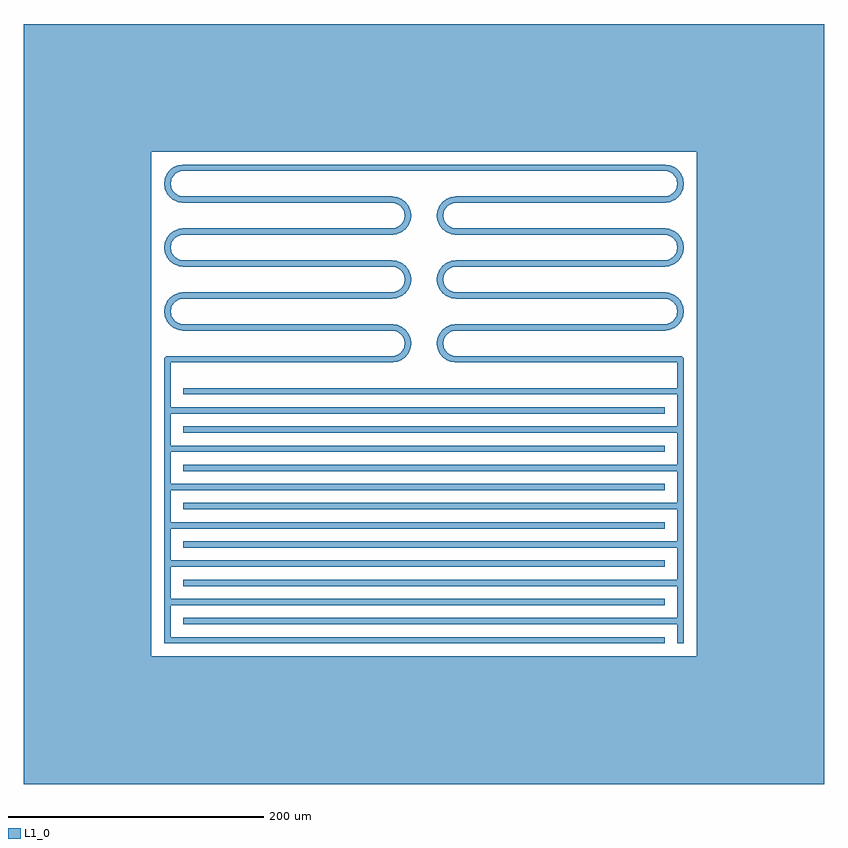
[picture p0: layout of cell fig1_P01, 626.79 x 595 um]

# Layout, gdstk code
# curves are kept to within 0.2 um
import gdstk
lib = gdstk.Library(unit=1e-6, precision=1e-09)
def R(c, l, rs):  # rectangles x0, y0, x1, y1
    for r in rs: c.add(gdstk.rectangle(r[:2], r[2:], *l))
def A(c, l, x, y, w, h, nx, ny, dx, dy):  # array of equal rectangles
    R(c, l, [(x+i*dx, y+j*dy, x+i*dx+w, y+j*dy+h) for i in range(nx) for j in range(ny)])
def P(c, l, *ps):  # polygons
    for p in ps: c.add(gdstk.Polygon(p, *l))
L1_0 = (1, 0)

fig1_p01 = lib.new_cell('fig1_P01')
A(fig1_p01, L1_0, -203.395, 0, 391.79, 5, 1, 7, 0, 30)
A(fig1_p01, L1_0, -188.395, 15, 391.79, 5, 1, 7, 0, 30)
A(fig1_p01, L1_0, -188.395, 245, 163.395, 5, 1, 5, 0, 25)
A(fig1_p01, L1_0, 25, 245, 163.395, 5, 1, 5, 0, 25)
R(fig1_p01, L1_0, [(-313.395,-110,313.395,-10), (-313.395,-10,-213.395,385), (213.395,-10,313.395,385), (-203.395,0,-198.395,200), (198.395,0,203.395,200), (-203.395,197.5,-198.395,222.5), (198.395,197.5,203.395,222.5), (-200.895,220,-25,225), (25,220,200.895,225), (-188.395,370,188.395,375), (-313.395,385,313.395,485)])
P(fig1_p01, L1_0, [(14.979,334.674),(10.021,335.326),(10.447,338.562),(15.405,337.909)],
  [(12.926,335.735),(11.158,336.467),(10.426,338.235),(11.158,340.003),(12.926,340.735),(14.694,340.003),(15.426,338.235),(14.694,336.467)],
  [(12.5,332.5),(10.732,333.232),(10,335),(10.732,336.768),(12.5,337.5),(14.268,336.768),(15,335),(14.268,333.232)],
  [(196.167,347.191),(193.123,351.158),(195.712,353.145),(198.756,349.178)],
  [(192.587,345.616),(190.674,350.236),(193.688,351.484),(195.602,346.865)],
  [(188.721,345.021),(188.069,349.979),(191.304,350.405),(191.957,345.447)],
  [(191.304,369.595),(188.069,370.021),(188.721,374.979),(191.957,374.553)],
  [(193.688,368.516),(190.674,369.764),(192.587,374.384),(195.602,373.135)],
  [(195.712,366.855),(193.123,368.842),(196.167,372.809),(198.756,370.822)],
  [(197.237,364.728),(195.25,367.317),(199.217,370.361),(201.204,367.772)],
  [(198.159,362.279),(196.911,365.293),(201.53,367.207),(202.779,364.192)],
  [(198.416,359.674),(197.99,362.909),(202.948,363.562),(203.374,360.326)],
  [(202.948,356.438),(197.99,357.091),(198.416,360.326),(203.374,359.674)],
  [(188.395,370),(186.627,370.732),(185.895,372.5),(186.627,374.268),(188.395,375),(190.163,374.268),(190.895,372.5),(190.163,370.732)],
  [(191.63,369.574),(189.862,370.306),(189.13,372.074),(189.862,373.842),(191.63,374.574),(193.398,373.842),(194.13,372.074),(193.398,370.306)],
  [(194.645,368.325),(192.877,369.058),(192.145,370.825),(192.877,372.593),(194.645,373.325),(196.413,372.593),(197.145,370.825),(196.413,369.058)],
  [(197.234,366.339),(195.466,367.071),(194.734,368.839),(195.466,370.607),(197.234,371.339),(199.002,370.607),(199.734,368.839),(199.002,367.071)],
  [(199.22,363.75),(197.453,364.482),(196.72,366.25),(197.453,368.018),(199.22,368.75),(200.988,368.018),(201.72,366.25),(200.988,364.482)],
  [(200.469,360.735),(198.701,361.467),(197.969,363.235),(198.701,365.003),(200.469,365.735),(202.237,365.003),(202.969,363.235),(202.237,361.467)],
  [(200.895,357.5),(199.127,358.232),(198.395,360),(199.127,361.768),(200.895,362.5),(202.663,361.768),(203.395,360),(202.663,358.232)],
  [(200.469,354.265),(198.701,354.997),(197.969,356.765),(198.701,358.533),(200.469,359.265),(202.237,358.533),(202.969,356.765),(202.237,354.997)],
  [(199.22,351.25),(197.453,351.982),(196.72,353.75),(197.453,355.518),(199.22,356.25),(200.988,355.518),(201.72,353.75),(200.988,351.982)],
  [(197.234,348.661),(195.466,349.393),(194.734,351.161),(195.466,352.929),(197.234,353.661),(199.002,352.929),(199.734,351.161),(199.002,349.393)],
  [(194.645,346.675),(192.877,347.407),(192.145,349.175),(192.877,350.942),(194.645,351.675),(196.413,350.942),(197.145,349.175),(196.413,347.407)],
  [(191.63,345.426),(189.862,346.158),(189.13,347.926),(189.862,349.694),(191.63,350.426),(193.398,349.694),(194.13,347.926),(193.398,346.158)],
  [(188.395,345),(186.627,345.732),(185.895,347.5),(186.627,349.268),(188.395,350),(190.163,349.268),(190.895,347.5),(190.163,345.732)],
  [(201.53,352.793),(196.911,354.707),(198.159,357.721),(202.779,355.808)],
  [(199.217,349.639),(195.25,352.683),(197.237,355.272),(201.204,352.228)],
  [(19.707,343.516),(17.793,348.135),(20.808,349.384),(22.721,344.764)],
  [(17.683,341.855),(14.639,345.822),(17.228,347.809),(20.272,343.842)],
  [(16.158,339.728),(12.191,342.772),(14.178,345.361),(18.145,342.317)],
  [(25,345),(23.232,345.732),(22.5,347.5),(23.232,349.268),(25,350),(26.768,349.268),(27.5,347.5),(26.768,345.732)],
  [(21.765,344.574),(19.997,345.306),(19.265,347.074),(19.997,348.842),(21.765,349.574),(23.533,348.842),(24.265,347.074),(23.533,345.306)],
  [(18.75,343.325),(16.982,344.058),(16.25,345.825),(16.982,347.593),(18.75,348.325),(20.518,347.593),(21.25,345.825),(20.518,344.058)],
  [(16.161,341.339),(14.393,342.071),(13.661,343.839),(14.393,345.607),(16.161,346.339),(17.929,345.607),(18.661,343.839),(17.929,342.071)],
  [(14.175,338.75),(12.407,339.482),(11.675,341.25),(12.407,343.018),(14.175,343.75),(15.942,343.018),(16.675,341.25),(15.942,339.482)],
  [(15.236,337.279),(10.616,339.192),(11.865,342.207),(16.484,340.293)],
  [(22.091,344.595),(21.438,349.553),(24.674,349.979),(25.326,345.021)],
  [(16.158,239.728),(12.191,242.772),(14.178,245.361),(18.145,242.317)],
  [(15.236,237.279),(10.616,239.192),(11.865,242.207),(16.484,240.293)],
  [(14.979,234.674),(10.021,235.326),(10.447,238.562),(15.405,237.909)],
  [(10.447,231.438),(10.021,234.674),(14.979,235.326),(15.405,232.091)],
  [(11.865,227.793),(10.616,230.808),(15.236,232.721),(16.484,229.707)],
  [(14.178,224.639),(12.191,227.228),(16.158,230.272),(18.145,227.683)],
  [(17.228,222.191),(14.639,224.178),(17.683,228.145),(20.272,226.158)],
  [(20.808,220.616),(17.793,221.865),(19.707,226.484),(22.721,225.236)],
  [(24.674,220.021),(21.438,220.447),(22.091,225.405),(25.326,224.979)],
  [(20.808,320.616),(17.793,321.865),(19.707,326.484),(22.721,325.236)],
  [(24.674,320.021),(21.438,320.447),(22.091,325.405),(25.326,324.979)],
  [(10.447,331.438),(10.021,334.674),(14.979,335.326),(15.405,332.091)],
  [(11.865,327.793),(10.616,330.808),(15.236,332.721),(16.484,329.707)],
  [(22.091,294.595),(21.438,299.553),(24.674,299.979),(25.326,295.021)],
  [(19.707,293.516),(17.793,298.135),(20.808,299.384),(22.721,294.764)],
  [(17.683,291.855),(14.639,295.822),(17.228,297.809),(20.272,293.842)],
  [(16.158,289.728),(12.191,292.772),(14.178,295.361),(18.145,292.317)],
  [(15.236,287.279),(10.616,289.192),(11.865,292.207),(16.484,290.293)],
  [(14.979,284.674),(10.021,285.326),(10.447,288.562),(15.405,287.909)],
  [(10.447,281.438),(10.021,284.674),(14.979,285.326),(15.405,282.091)],
  [(11.865,277.793),(10.616,280.808),(15.236,282.721),(16.484,279.707)],
  [(14.178,274.639),(12.191,277.228),(16.158,280.272),(18.145,277.683)],
  [(17.228,272.191),(14.639,274.178),(17.683,278.145),(20.272,276.158)],
  [(20.808,270.616),(17.793,271.865),(19.707,276.484),(22.721,275.236)],
  [(24.674,270.021),(21.438,270.447),(22.091,275.405),(25.326,274.979)],
  [(14.178,324.639),(12.191,327.228),(16.158,330.272),(18.145,327.683)],
  [(17.228,322.191),(14.639,324.178),(17.683,328.145),(20.272,326.158)],
  [(22.091,244.595),(21.438,249.553),(24.674,249.979),(25.326,245.021)],
  [(19.707,243.516),(17.793,248.135),(20.808,249.384),(22.721,244.764)],
  [(17.683,241.855),(14.639,245.822),(17.228,247.809),(20.272,243.842)],
  [(12.926,329.265),(11.158,329.997),(10.426,331.765),(11.158,333.533),(12.926,334.265),(14.694,333.533),(15.426,331.765),(14.694,329.997)],
  [(14.175,326.25),(12.407,326.982),(11.675,328.75),(12.407,330.518),(14.175,331.25),(15.942,330.518),(16.675,328.75),(15.942,326.982)],
  [(16.161,323.661),(14.393,324.393),(13.661,326.161),(14.393,327.929),(16.161,328.661),(17.929,327.929),(18.661,326.161),(17.929,324.393)],
  [(18.75,321.675),(16.982,322.407),(16.25,324.175),(16.982,325.942),(18.75,326.675),(20.518,325.942),(21.25,324.175),(20.518,322.407)],
  [(21.765,320.426),(19.997,321.158),(19.265,322.926),(19.997,324.694),(21.765,325.426),(23.533,324.694),(24.265,322.926),(23.533,321.158)],
  [(25,320),(23.232,320.732),(22.5,322.5),(23.232,324.268),(25,325),(26.768,324.268),(27.5,322.5),(26.768,320.732)],
  [(25,295),(23.232,295.732),(22.5,297.5),(23.232,299.268),(25,300),(26.768,299.268),(27.5,297.5),(26.768,295.732)],
  [(21.765,294.574),(19.997,295.306),(19.265,297.074),(19.997,298.842),(21.765,299.574),(23.533,298.842),(24.265,297.074),(23.533,295.306)],
  [(18.75,293.325),(16.982,294.058),(16.25,295.825),(16.982,297.593),(18.75,298.325),(20.518,297.593),(21.25,295.825),(20.518,294.058)],
  [(16.161,291.339),(14.393,292.071),(13.661,293.839),(14.393,295.607),(16.161,296.339),(17.929,295.607),(18.661,293.839),(17.929,292.071)],
  [(14.175,288.75),(12.407,289.482),(11.675,291.25),(12.407,293.018),(14.175,293.75),(15.942,293.018),(16.675,291.25),(15.942,289.482)],
  [(12.926,285.735),(11.158,286.467),(10.426,288.235),(11.158,290.003),(12.926,290.735),(14.694,290.003),(15.426,288.235),(14.694,286.467)],
  [(12.5,282.5),(10.732,283.232),(10,285),(10.732,286.768),(12.5,287.5),(14.268,286.768),(15,285),(14.268,283.232)],
  [(12.926,279.265),(11.158,279.997),(10.426,281.765),(11.158,283.533),(12.926,284.265),(14.694,283.533),(15.426,281.765),(14.694,279.997)],
  [(14.175,276.25),(12.407,276.982),(11.675,278.75),(12.407,280.518),(14.175,281.25),(15.942,280.518),(16.675,278.75),(15.942,276.982)],
  [(16.161,273.661),(14.393,274.393),(13.661,276.161),(14.393,277.929),(16.161,278.661),(17.929,277.929),(18.661,276.161),(17.929,274.393)],
  [(18.75,271.675),(16.982,272.407),(16.25,274.175),(16.982,275.942),(18.75,276.675),(20.518,275.942),(21.25,274.175),(20.518,272.407)],
  [(21.765,270.426),(19.997,271.158),(19.265,272.926),(19.997,274.694),(21.765,275.426),(23.533,274.694),(24.265,272.926),(23.533,271.158)],
  [(25,270),(23.232,270.732),(22.5,272.5),(23.232,274.268),(25,275),(26.768,274.268),(27.5,272.5),(26.768,270.732)],
  [(25,245),(23.232,245.732),(22.5,247.5),(23.232,249.268),(25,250),(26.768,249.268),(27.5,247.5),(26.768,245.732)],
  [(21.765,244.574),(19.997,245.306),(19.265,247.074),(19.997,248.842),(21.765,249.574),(23.533,248.842),(24.265,247.074),(23.533,245.306)],
  [(18.75,243.325),(16.982,244.058),(16.25,245.825),(16.982,247.593),(18.75,248.325),(20.518,247.593),(21.25,245.825),(20.518,244.058)],
  [(16.161,241.339),(14.393,242.071),(13.661,243.839),(14.393,245.607),(16.161,246.339),(17.929,245.607),(18.661,243.839),(17.929,242.071)],
  [(14.175,238.75),(12.407,239.482),(11.675,241.25),(12.407,243.018),(14.175,243.75),(15.942,243.018),(16.675,241.25),(15.942,239.482)],
  [(12.926,235.735),(11.158,236.467),(10.426,238.235),(11.158,240.003),(12.926,240.735),(14.694,240.003),(15.426,238.235),(14.694,236.467)],
  [(12.5,232.5),(10.732,233.232),(10,235),(10.732,236.768),(12.5,237.5),(14.268,236.768),(15,235),(14.268,233.232)],
  [(12.926,229.265),(11.158,229.997),(10.426,231.765),(11.158,233.533),(12.926,234.265),(14.694,233.533),(15.426,231.765),(14.694,229.997)],
  [(14.175,226.25),(12.407,226.982),(11.675,228.75),(12.407,230.518),(14.175,231.25),(15.942,230.518),(16.675,228.75),(15.942,226.982)],
  [(16.161,223.661),(14.393,224.393),(13.661,226.161),(14.393,227.929),(16.161,228.661),(17.929,227.929),(18.661,226.161),(17.929,224.393)],
  [(18.75,221.675),(16.982,222.407),(16.25,224.175),(16.982,225.942),(18.75,226.675),(20.518,225.942),(21.25,224.175),(20.518,222.407)],
  [(21.765,220.426),(19.997,221.158),(19.265,222.926),(19.997,224.694),(21.765,225.426),(23.533,224.694),(24.265,222.926),(23.533,221.158)],
  [(25,220),(23.232,220.732),(22.5,222.5),(23.232,224.268),(25,225),(26.768,224.268),(27.5,222.5),(26.768,220.732)],
  [(191.63,319.574),(189.862,320.306),(189.13,322.074),(189.862,323.842),(191.63,324.574),(193.398,323.842),(194.13,322.074),(193.398,320.306)],
  [(194.645,318.325),(192.877,319.058),(192.145,320.825),(192.877,322.593),(194.645,323.325),(196.413,322.593),(197.145,320.825),(196.413,319.058)],
  [(197.234,316.339),(195.466,317.071),(194.734,318.839),(195.466,320.607),(197.234,321.339),(199.002,320.607),(199.734,318.839),(199.002,317.071)],
  [(199.22,313.75),(197.453,314.482),(196.72,316.25),(197.453,318.018),(199.22,318.75),(200.988,318.018),(201.72,316.25),(200.988,314.482)],
  [(200.469,310.735),(198.701,311.467),(197.969,313.235),(198.701,315.003),(200.469,315.735),(202.237,315.003),(202.969,313.235),(202.237,311.467)],
  [(200.895,307.5),(199.127,308.232),(198.395,310),(199.127,311.768),(200.895,312.5),(202.663,311.768),(203.395,310),(202.663,308.232)],
  [(200.469,304.265),(198.701,304.997),(197.969,306.765),(198.701,308.533),(200.469,309.265),(202.237,308.533),(202.969,306.765),(202.237,304.997)],
  [(199.22,301.25),(197.453,301.982),(196.72,303.75),(197.453,305.518),(199.22,306.25),(200.988,305.518),(201.72,303.75),(200.988,301.982)],
  [(197.234,298.661),(195.466,299.393),(194.734,301.161),(195.466,302.929),(197.234,303.661),(199.002,302.929),(199.734,301.161),(199.002,299.393)],
  [(194.645,296.675),(192.877,297.407),(192.145,299.175),(192.877,300.942),(194.645,301.675),(196.413,300.942),(197.145,299.175),(196.413,297.407)],
  [(191.63,295.426),(189.862,296.158),(189.13,297.926),(189.862,299.694),(191.63,300.426),(193.398,299.694),(194.13,297.926),(193.398,296.158)],
  [(188.395,295),(186.627,295.732),(185.895,297.5),(186.627,299.268),(188.395,300),(190.163,299.268),(190.895,297.5),(190.163,295.732)],
  [(195.712,266.855),(193.123,268.842),(196.167,272.809),(198.756,270.822)],
  [(197.237,264.728),(195.25,267.317),(199.217,270.361),(201.204,267.772)],
  [(198.159,262.279),(196.911,265.293),(201.53,267.207),(202.779,264.192)],
  [(198.416,259.674),(197.99,262.909),(202.948,263.562),(203.374,260.326)],
  [(202.948,256.438),(197.99,257.091),(198.416,260.326),(203.374,259.674)],
  [(201.53,252.793),(196.911,254.707),(198.159,257.721),(202.779,255.808)],
  [(199.217,249.639),(195.25,252.683),(197.237,255.272),(201.204,252.228)],
  [(196.167,247.191),(193.123,251.158),(195.712,253.145),(198.756,249.178)],
  [(192.587,245.616),(190.674,250.236),(193.688,251.484),(195.602,246.865)],
  [(188.721,245.021),(188.069,249.979),(191.304,250.405),(191.957,245.447)],
  [(191.304,319.595),(188.069,320.021),(188.721,324.979),(191.957,324.553)],
  [(193.688,318.516),(190.674,319.764),(192.587,324.384),(195.602,323.135)],
  [(195.712,316.855),(193.123,318.842),(196.167,322.809),(198.756,320.822)],
  [(188.395,270),(186.627,270.732),(185.895,272.5),(186.627,274.268),(188.395,275),(190.163,274.268),(190.895,272.5),(190.163,270.732)],
  [(191.63,269.574),(189.862,270.306),(189.13,272.074),(189.862,273.842),(191.63,274.574),(193.398,273.842),(194.13,272.074),(193.398,270.306)],
  [(194.645,268.325),(192.877,269.058),(192.145,270.825),(192.877,272.593),(194.645,273.325),(196.413,272.593),(197.145,270.825),(196.413,269.058)],
  [(197.234,266.339),(195.466,267.071),(194.734,268.839),(195.466,270.607),(197.234,271.339),(199.002,270.607),(199.734,268.839),(199.002,267.071)],
  [(199.22,263.75),(197.453,264.482),(196.72,266.25),(197.453,268.018),(199.22,268.75),(200.988,268.018),(201.72,266.25),(200.988,264.482)],
  [(200.469,260.735),(198.701,261.467),(197.969,263.235),(198.701,265.003),(200.469,265.735),(202.237,265.003),(202.969,263.235),(202.237,261.467)],
  [(200.895,257.5),(199.127,258.232),(198.395,260),(199.127,261.768),(200.895,262.5),(202.663,261.768),(203.395,260),(202.663,258.232)],
  [(200.469,254.265),(198.701,254.997),(197.969,256.765),(198.701,258.533),(200.469,259.265),(202.237,258.533),(202.969,256.765),(202.237,254.997)],
  [(199.22,251.25),(197.453,251.982),(196.72,253.75),(197.453,255.518),(199.22,256.25),(200.988,255.518),(201.72,253.75),(200.988,251.982)],
  [(197.234,248.661),(195.466,249.393),(194.734,251.161),(195.466,252.929),(197.234,253.661),(199.002,252.929),(199.734,251.161),(199.002,249.393)],
  [(194.645,246.675),(192.877,247.407),(192.145,249.175),(192.877,250.942),(194.645,251.675),(196.413,250.942),(197.145,249.175),(196.413,247.407)],
  [(191.63,245.426),(189.862,246.158),(189.13,247.926),(189.862,249.694),(191.63,250.426),(193.398,249.694),(194.13,247.926),(193.398,246.158)],
  [(188.395,245),(186.627,245.732),(185.895,247.5),(186.627,249.268),(188.395,250),(190.163,249.268),(190.895,247.5),(190.163,245.732)],
  [(197.237,314.728),(195.25,317.317),(199.217,320.361),(201.204,317.772)],
  [(198.159,312.279),(196.911,315.293),(201.53,317.207),(202.779,314.192)],
  [(198.416,309.674),(197.99,312.909),(202.948,313.562),(203.374,310.326)],
  [(202.948,306.438),(197.99,307.091),(198.416,310.326),(203.374,309.674)],
  [(201.53,302.793),(196.911,304.707),(198.159,307.721),(202.779,305.808)],
  [(199.217,299.639),(195.25,302.683),(197.237,305.272),(201.204,302.228)],
  [(196.167,297.191),(193.123,301.158),(195.712,303.145),(198.756,299.178)],
  [(192.587,295.616),(190.674,300.236),(193.688,301.484),(195.602,296.865)],
  [(188.721,295.021),(188.069,299.979),(191.304,300.405),(191.957,295.447)],
  [(191.304,269.595),(188.069,270.021),(188.721,274.979),(191.957,274.553)],
  [(193.688,268.516),(190.674,269.764),(192.587,274.384),(195.602,273.135)],
  [(188.395,320),(186.627,320.732),(185.895,322.5),(186.627,324.268),(188.395,325),(190.163,324.268),(190.895,322.5),(190.163,320.732)],
  [(200.895,220),(199.127,220.732),(198.395,222.5),(199.127,224.268),(200.895,225),(202.663,224.268),(203.395,222.5),(202.663,220.732)],
  [(-12.5,332.5),(-14.268,333.232),(-15,335),(-14.268,336.768),(-12.5,337.5),(-10.732,336.768),(-10,335),(-10.732,333.232)],
  [(-12.926,335.735),(-14.694,336.467),(-15.426,338.235),(-14.694,340.003),(-12.926,340.735),(-11.158,340.003),(-10.426,338.235),(-11.158,336.467)],
  [(-14.979,334.674),(-15.405,337.909),(-10.447,338.562),(-10.021,335.326)],
  [(-18.75,343.325),(-20.518,344.058),(-21.25,345.825),(-20.518,347.593),(-18.75,348.325),(-16.982,347.593),(-16.25,345.825),(-16.982,344.058)],
  [(-21.765,344.574),(-23.533,345.306),(-24.265,347.074),(-23.533,348.842),(-21.765,349.574),(-19.997,348.842),(-19.265,347.074),(-19.997,345.306)],
  [(-25,345),(-26.768,345.732),(-27.5,347.5),(-26.768,349.268),(-25,350),(-23.232,349.268),(-22.5,347.5),(-23.232,345.732)],
  [(-14.175,338.75),(-15.942,339.482),(-16.675,341.25),(-15.942,343.018),(-14.175,343.75),(-12.407,343.018),(-11.675,341.25),(-12.407,339.482)],
  [(-15.236,337.279),(-16.484,340.293),(-11.865,342.207),(-10.616,339.192)],
  [(-16.158,339.728),(-18.145,342.317),(-14.178,345.361),(-12.191,342.772)],
  [(-17.683,341.855),(-20.272,343.842),(-17.228,347.809),(-14.639,345.822)],
  [(-19.707,343.516),(-22.721,344.764),(-20.808,349.384),(-17.793,348.135)],
  [(-22.091,344.595),(-25.326,345.021),(-24.674,349.979),(-21.438,349.553)],
  [(-16.161,341.339),(-17.929,342.071),(-18.661,343.839),(-17.929,345.607),(-16.161,346.339),(-14.393,345.607),(-13.661,343.839),(-14.393,342.071)],
  [(-188.395,370),(-190.163,370.732),(-190.895,372.5),(-190.163,374.268),(-188.395,375),(-186.627,374.268),(-185.895,372.5),(-186.627,370.732)],
  [(-188.395,345),(-190.163,345.732),(-190.895,347.5),(-190.163,349.268),(-188.395,350),(-186.627,349.268),(-185.895,347.5),(-186.627,345.732)],
  [(-191.63,345.426),(-193.398,346.158),(-194.13,347.926),(-193.398,349.694),(-191.63,350.426),(-189.862,349.694),(-189.13,347.926),(-189.862,346.158)],
  [(-194.645,346.675),(-196.413,347.407),(-197.145,349.175),(-196.413,350.942),(-194.645,351.675),(-192.877,350.942),(-192.145,349.175),(-192.877,347.407)],
  [(-197.234,348.661),(-199.002,349.393),(-199.734,351.161),(-199.002,352.929),(-197.234,353.661),(-195.466,352.929),(-194.734,351.161),(-195.466,349.393)],
  [(-199.22,351.25),(-200.988,351.982),(-201.72,353.75),(-200.988,355.518),(-199.22,356.25),(-197.453,355.518),(-196.72,353.75),(-197.453,351.982)],
  [(-200.469,354.265),(-202.237,354.997),(-202.969,356.765),(-202.237,358.533),(-200.469,359.265),(-198.701,358.533),(-197.969,356.765),(-198.701,354.997)],
  [(-200.895,357.5),(-202.663,358.232),(-203.395,360),(-202.663,361.768),(-200.895,362.5),(-199.127,361.768),(-198.395,360),(-199.127,358.232)],
  [(-200.469,360.735),(-202.237,361.467),(-202.969,363.235),(-202.237,365.003),(-200.469,365.735),(-198.701,365.003),(-197.969,363.235),(-198.701,361.467)],
  [(-199.22,363.75),(-200.988,364.482),(-201.72,366.25),(-200.988,368.018),(-199.22,368.75),(-197.453,368.018),(-196.72,366.25),(-197.453,364.482)],
  [(-197.234,366.339),(-199.002,367.071),(-199.734,368.839),(-199.002,370.607),(-197.234,371.339),(-195.466,370.607),(-194.734,368.839),(-195.466,367.071)],
  [(-194.645,368.325),(-196.413,369.058),(-197.145,370.825),(-196.413,372.593),(-194.645,373.325),(-192.877,372.593),(-192.145,370.825),(-192.877,369.058)],
  [(-191.63,369.574),(-193.398,370.306),(-194.13,372.074),(-193.398,373.842),(-191.63,374.574),(-189.862,373.842),(-189.13,372.074),(-189.862,370.306)],
  [(-188.721,345.021),(-191.957,345.447),(-191.304,350.405),(-188.069,349.979)],
  [(-192.587,345.616),(-195.602,346.865),(-193.688,351.484),(-190.674,350.236)],
  [(-196.167,347.191),(-198.756,349.178),(-195.712,353.145),(-193.123,351.158)],
  [(-199.217,349.639),(-201.204,352.228),(-197.237,355.272),(-195.25,352.683)],
  [(-201.53,352.793),(-202.779,355.808),(-198.159,357.721),(-196.911,354.707)],
  [(-202.948,356.438),(-203.374,359.674),(-198.416,360.326),(-197.99,357.091)],
  [(-198.416,359.674),(-203.374,360.326),(-202.948,363.562),(-197.99,362.909)],
  [(-198.159,362.279),(-202.779,364.192),(-201.53,367.207),(-196.911,365.293)],
  [(-197.237,364.728),(-201.204,367.772),(-199.217,370.361),(-195.25,367.317)],
  [(-195.712,366.855),(-198.756,370.822),(-196.167,372.809),(-193.123,368.842)],
  [(-193.688,368.516),(-195.602,373.135),(-192.587,374.384),(-190.674,369.764)],
  [(-191.304,369.595),(-191.957,374.553),(-188.721,374.979),(-188.069,370.021)],
  [(-197.234,298.661),(-199.002,299.393),(-199.734,301.161),(-199.002,302.929),(-197.234,303.661),(-195.466,302.929),(-194.734,301.161),(-195.466,299.393)],
  [(-199.22,301.25),(-200.988,301.982),(-201.72,303.75),(-200.988,305.518),(-199.22,306.25),(-197.453,305.518),(-196.72,303.75),(-197.453,301.982)],
  [(-200.469,304.265),(-202.237,304.997),(-202.969,306.765),(-202.237,308.533),(-200.469,309.265),(-198.701,308.533),(-197.969,306.765),(-198.701,304.997)],
  [(-200.895,307.5),(-202.663,308.232),(-203.395,310),(-202.663,311.768),(-200.895,312.5),(-199.127,311.768),(-198.395,310),(-199.127,308.232)],
  [(-200.469,310.735),(-202.237,311.467),(-202.969,313.235),(-202.237,315.003),(-200.469,315.735),(-198.701,315.003),(-197.969,313.235),(-198.701,311.467)],
  [(-188.721,245.021),(-191.957,245.447),(-191.304,250.405),(-188.069,249.979)],
  [(-192.587,245.616),(-195.602,246.865),(-193.688,251.484),(-190.674,250.236)],
  [(-196.167,247.191),(-198.756,249.178),(-195.712,253.145),(-193.123,251.158)],
  [(-199.217,249.639),(-201.204,252.228),(-197.237,255.272),(-195.25,252.683)],
  [(-201.53,252.793),(-202.779,255.808),(-198.159,257.721),(-196.911,254.707)],
  [(-202.948,256.438),(-203.374,259.674),(-198.416,260.326),(-197.99,257.091)],
  [(-198.416,259.674),(-203.374,260.326),(-202.948,263.562),(-197.99,262.909)],
  [(-198.159,262.279),(-202.779,264.192),(-201.53,267.207),(-196.911,265.293)],
  [(-197.237,264.728),(-201.204,267.772),(-199.217,270.361),(-195.25,267.317)],
  [(-195.712,266.855),(-198.756,270.822),(-196.167,272.809),(-193.123,268.842)],
  [(-193.688,268.516),(-195.602,273.135),(-192.587,274.384),(-190.674,269.764)],
  [(-191.304,269.595),(-191.957,274.553),(-188.721,274.979),(-188.069,270.021)],
  [(-199.22,313.75),(-200.988,314.482),(-201.72,316.25),(-200.988,318.018),(-199.22,318.75),(-197.453,318.018),(-196.72,316.25),(-197.453,314.482)],
  [(-197.234,316.339),(-199.002,317.071),(-199.734,318.839),(-199.002,320.607),(-197.234,321.339),(-195.466,320.607),(-194.734,318.839),(-195.466,317.071)],
  [(-188.721,295.021),(-191.957,295.447),(-191.304,300.405),(-188.069,299.979)],
  [(-192.587,295.616),(-195.602,296.865),(-193.688,301.484),(-190.674,300.236)],
  [(-196.167,297.191),(-198.756,299.178),(-195.712,303.145),(-193.123,301.158)],
  [(-199.217,299.639),(-201.204,302.228),(-197.237,305.272),(-195.25,302.683)],
  [(-201.53,302.793),(-202.779,305.808),(-198.159,307.721),(-196.911,304.707)],
  [(-202.948,306.438),(-203.374,309.674),(-198.416,310.326),(-197.99,307.091)],
  [(-198.416,309.674),(-203.374,310.326),(-202.948,313.562),(-197.99,312.909)],
  [(-198.159,312.279),(-202.779,314.192),(-201.53,317.207),(-196.911,315.293)],
  [(-197.237,314.728),(-201.204,317.772),(-199.217,320.361),(-195.25,317.317)],
  [(-195.712,316.855),(-198.756,320.822),(-196.167,322.809),(-193.123,318.842)],
  [(-193.688,318.516),(-195.602,323.135),(-192.587,324.384),(-190.674,319.764)],
  [(-191.304,319.595),(-191.957,324.553),(-188.721,324.979),(-188.069,320.021)],
  [(-194.645,318.325),(-196.413,319.058),(-197.145,320.825),(-196.413,322.593),(-194.645,323.325),(-192.877,322.593),(-192.145,320.825),(-192.877,319.058)],
  [(-191.63,319.574),(-193.398,320.306),(-194.13,322.074),(-193.398,323.842),(-191.63,324.574),(-189.862,323.842),(-189.13,322.074),(-189.862,320.306)],
  [(-188.395,320),(-190.163,320.732),(-190.895,322.5),(-190.163,324.268),(-188.395,325),(-186.627,324.268),(-185.895,322.5),(-186.627,320.732)],
  [(-200.895,220),(-202.663,220.732),(-203.395,222.5),(-202.663,224.268),(-200.895,225),(-199.127,224.268),(-198.395,222.5),(-199.127,220.732)],
  [(-188.395,245),(-190.163,245.732),(-190.895,247.5),(-190.163,249.268),(-188.395,250),(-186.627,249.268),(-185.895,247.5),(-186.627,245.732)],
  [(-191.63,245.426),(-193.398,246.158),(-194.13,247.926),(-193.398,249.694),(-191.63,250.426),(-189.862,249.694),(-189.13,247.926),(-189.862,246.158)],
  [(-194.645,246.675),(-196.413,247.407),(-197.145,249.175),(-196.413,250.942),(-194.645,251.675),(-192.877,250.942),(-192.145,249.175),(-192.877,247.407)],
  [(-197.234,248.661),(-199.002,249.393),(-199.734,251.161),(-199.002,252.929),(-197.234,253.661),(-195.466,252.929),(-194.734,251.161),(-195.466,249.393)],
  [(-199.22,251.25),(-200.988,251.982),(-201.72,253.75),(-200.988,255.518),(-199.22,256.25),(-197.453,255.518),(-196.72,253.75),(-197.453,251.982)],
  [(-200.469,254.265),(-202.237,254.997),(-202.969,256.765),(-202.237,258.533),(-200.469,259.265),(-198.701,258.533),(-197.969,256.765),(-198.701,254.997)],
  [(-200.895,257.5),(-202.663,258.232),(-203.395,260),(-202.663,261.768),(-200.895,262.5),(-199.127,261.768),(-198.395,260),(-199.127,258.232)],
  [(-200.469,260.735),(-202.237,261.467),(-202.969,263.235),(-202.237,265.003),(-200.469,265.735),(-198.701,265.003),(-197.969,263.235),(-198.701,261.467)],
  [(-199.22,263.75),(-200.988,264.482),(-201.72,266.25),(-200.988,268.018),(-199.22,268.75),(-197.453,268.018),(-196.72,266.25),(-197.453,264.482)],
  [(-197.234,266.339),(-199.002,267.071),(-199.734,268.839),(-199.002,270.607),(-197.234,271.339),(-195.466,270.607),(-194.734,268.839),(-195.466,267.071)],
  [(-194.645,268.325),(-196.413,269.058),(-197.145,270.825),(-196.413,272.593),(-194.645,273.325),(-192.877,272.593),(-192.145,270.825),(-192.877,269.058)],
  [(-191.63,269.574),(-193.398,270.306),(-194.13,272.074),(-193.398,273.842),(-191.63,274.574),(-189.862,273.842),(-189.13,272.074),(-189.862,270.306)],
  [(-188.395,270),(-190.163,270.732),(-190.895,272.5),(-190.163,274.268),(-188.395,275),(-186.627,274.268),(-185.895,272.5),(-186.627,270.732)],
  [(-188.395,295),(-190.163,295.732),(-190.895,297.5),(-190.163,299.268),(-188.395,300),(-186.627,299.268),(-185.895,297.5),(-186.627,295.732)],
  [(-191.63,295.426),(-193.398,296.158),(-194.13,297.926),(-193.398,299.694),(-191.63,300.426),(-189.862,299.694),(-189.13,297.926),(-189.862,296.158)],
  [(-194.645,296.675),(-196.413,297.407),(-197.145,299.175),(-196.413,300.942),(-194.645,301.675),(-192.877,300.942),(-192.145,299.175),(-192.877,297.407)],
  [(-25,245),(-26.768,245.732),(-27.5,247.5),(-26.768,249.268),(-25,250),(-23.232,249.268),(-22.5,247.5),(-23.232,245.732)],
  [(-25,320),(-26.768,320.732),(-27.5,322.5),(-26.768,324.268),(-25,325),(-23.232,324.268),(-22.5,322.5),(-23.232,320.732)],
  [(-21.765,320.426),(-23.533,321.158),(-24.265,322.926),(-23.533,324.694),(-21.765,325.426),(-19.997,324.694),(-19.265,322.926),(-19.997,321.158)],
  [(-18.75,321.675),(-20.518,322.407),(-21.25,324.175),(-20.518,325.942),(-18.75,326.675),(-16.982,325.942),(-16.25,324.175),(-16.982,322.407)],
  [(-16.161,323.661),(-17.929,324.393),(-18.661,326.161),(-17.929,327.929),(-16.161,328.661),(-14.393,327.929),(-13.661,326.161),(-14.393,324.393)],
  [(-14.175,326.25),(-15.942,326.982),(-16.675,328.75),(-15.942,330.518),(-14.175,331.25),(-12.407,330.518),(-11.675,328.75),(-12.407,326.982)],
  [(-12.926,329.265),(-14.694,329.997),(-15.426,331.765),(-14.694,333.533),(-12.926,334.265),(-11.158,333.533),(-10.426,331.765),(-11.158,329.997)],
  [(-25,270),(-26.768,270.732),(-27.5,272.5),(-26.768,274.268),(-25,275),(-23.232,274.268),(-22.5,272.5),(-23.232,270.732)],
  [(-21.765,270.426),(-23.533,271.158),(-24.265,272.926),(-23.533,274.694),(-21.765,275.426),(-19.997,274.694),(-19.265,272.926),(-19.997,271.158)],
  [(-18.75,271.675),(-20.518,272.407),(-21.25,274.175),(-20.518,275.942),(-18.75,276.675),(-16.982,275.942),(-16.25,274.175),(-16.982,272.407)],
  [(-16.161,273.661),(-17.929,274.393),(-18.661,276.161),(-17.929,277.929),(-16.161,278.661),(-14.393,277.929),(-13.661,276.161),(-14.393,274.393)],
  [(-24.674,270.021),(-25.326,274.979),(-22.091,275.405),(-21.438,270.447)],
  [(-20.808,270.616),(-22.721,275.236),(-19.707,276.484),(-17.793,271.865)],
  [(-17.228,272.191),(-20.272,276.158),(-17.683,278.145),(-14.639,274.178)],
  [(-14.178,274.639),(-18.145,277.683),(-16.158,280.272),(-12.191,277.228)],
  [(-11.865,277.793),(-16.484,279.707),(-15.236,282.721),(-10.616,280.808)],
  [(-10.447,281.438),(-15.405,282.091),(-14.979,285.326),(-10.021,284.674)],
  [(-14.979,284.674),(-15.405,287.909),(-10.447,288.562),(-10.021,285.326)],
  [(-15.236,287.279),(-16.484,290.293),(-11.865,292.207),(-10.616,289.192)],
  [(-16.158,289.728),(-18.145,292.317),(-14.178,295.361),(-12.191,292.772)],
  [(-17.683,291.855),(-20.272,293.842),(-17.228,297.809),(-14.639,295.822)],
  [(-19.707,293.516),(-22.721,294.764),(-20.808,299.384),(-17.793,298.135)],
  [(-22.091,294.595),(-25.326,295.021),(-24.674,299.979),(-21.438,299.553)],
  [(-14.175,276.25),(-15.942,276.982),(-16.675,278.75),(-15.942,280.518),(-14.175,281.25),(-12.407,280.518),(-11.675,278.75),(-12.407,276.982)],
  [(-12.926,279.265),(-14.694,279.997),(-15.426,281.765),(-14.694,283.533),(-12.926,284.265),(-11.158,283.533),(-10.426,281.765),(-11.158,279.997)],
  [(-12.5,282.5),(-14.268,283.232),(-15,285),(-14.268,286.768),(-12.5,287.5),(-10.732,286.768),(-10,285),(-10.732,283.232)],
  [(-12.926,285.735),(-14.694,286.467),(-15.426,288.235),(-14.694,290.003),(-12.926,290.735),(-11.158,290.003),(-10.426,288.235),(-11.158,286.467)],
  [(-14.175,288.75),(-15.942,289.482),(-16.675,291.25),(-15.942,293.018),(-14.175,293.75),(-12.407,293.018),(-11.675,291.25),(-12.407,289.482)],
  [(-16.161,291.339),(-17.929,292.071),(-18.661,293.839),(-17.929,295.607),(-16.161,296.339),(-14.393,295.607),(-13.661,293.839),(-14.393,292.071)],
  [(-18.75,293.325),(-20.518,294.058),(-21.25,295.825),(-20.518,297.593),(-18.75,298.325),(-16.982,297.593),(-16.25,295.825),(-16.982,294.058)],
  [(-21.765,294.574),(-23.533,295.306),(-24.265,297.074),(-23.533,298.842),(-21.765,299.574),(-19.997,298.842),(-19.265,297.074),(-19.997,295.306)],
  [(-25,295),(-26.768,295.732),(-27.5,297.5),(-26.768,299.268),(-25,300),(-23.232,299.268),(-22.5,297.5),(-23.232,295.732)],
  [(-25,220),(-26.768,220.732),(-27.5,222.5),(-26.768,224.268),(-25,225),(-23.232,224.268),(-22.5,222.5),(-23.232,220.732)],
  [(-21.765,220.426),(-23.533,221.158),(-24.265,222.926),(-23.533,224.694),(-21.765,225.426),(-19.997,224.694),(-19.265,222.926),(-19.997,221.158)],
  [(-18.75,221.675),(-20.518,222.407),(-21.25,224.175),(-20.518,225.942),(-18.75,226.675),(-16.982,225.942),(-16.25,224.175),(-16.982,222.407)],
  [(-16.161,223.661),(-17.929,224.393),(-18.661,226.161),(-17.929,227.929),(-16.161,228.661),(-14.393,227.929),(-13.661,226.161),(-14.393,224.393)],
  [(-14.175,226.25),(-15.942,226.982),(-16.675,228.75),(-15.942,230.518),(-14.175,231.25),(-12.407,230.518),(-11.675,228.75),(-12.407,226.982)],
  [(-24.674,320.021),(-25.326,324.979),(-22.091,325.405),(-21.438,320.447)],
  [(-20.808,320.616),(-22.721,325.236),(-19.707,326.484),(-17.793,321.865)],
  [(-17.228,322.191),(-20.272,326.158),(-17.683,328.145),(-14.639,324.178)],
  [(-14.178,324.639),(-18.145,327.683),(-16.158,330.272),(-12.191,327.228)],
  [(-11.865,327.793),(-16.484,329.707),(-15.236,332.721),(-10.616,330.808)],
  [(-10.447,331.438),(-15.405,332.091),(-14.979,335.326),(-10.021,334.674)],
  [(-12.926,229.265),(-14.694,229.997),(-15.426,231.765),(-14.694,233.533),(-12.926,234.265),(-11.158,233.533),(-10.426,231.765),(-11.158,229.997)],
  [(-12.5,232.5),(-14.268,233.232),(-15,235),(-14.268,236.768),(-12.5,237.5),(-10.732,236.768),(-10,235),(-10.732,233.232)],
  [(-12.926,235.735),(-14.694,236.467),(-15.426,238.235),(-14.694,240.003),(-12.926,240.735),(-11.158,240.003),(-10.426,238.235),(-11.158,236.467)],
  [(-14.175,238.75),(-15.942,239.482),(-16.675,241.25),(-15.942,243.018),(-14.175,243.75),(-12.407,243.018),(-11.675,241.25),(-12.407,239.482)],
  [(-24.674,220.021),(-25.326,224.979),(-22.091,225.405),(-21.438,220.447)],
  [(-20.808,220.616),(-22.721,225.236),(-19.707,226.484),(-17.793,221.865)],
  [(-17.228,222.191),(-20.272,226.158),(-17.683,228.145),(-14.639,224.178)],
  [(-14.178,224.639),(-18.145,227.683),(-16.158,230.272),(-12.191,227.228)],
  [(-11.865,227.793),(-16.484,229.707),(-15.236,232.721),(-10.616,230.808)],
  [(-10.447,231.438),(-15.405,232.091),(-14.979,235.326),(-10.021,234.674)],
  [(-14.979,234.674),(-15.405,237.909),(-10.447,238.562),(-10.021,235.326)],
  [(-15.236,237.279),(-16.484,240.293),(-11.865,242.207),(-10.616,239.192)],
  [(-16.158,239.728),(-18.145,242.317),(-14.178,245.361),(-12.191,242.772)],
  [(-17.683,241.855),(-20.272,243.842),(-17.228,247.809),(-14.639,245.822)],
  [(-19.707,243.516),(-22.721,244.764),(-20.808,249.384),(-17.793,248.135)],
  [(-22.091,244.595),(-25.326,245.021),(-24.674,249.979),(-21.438,249.553)],
  [(-16.161,241.339),(-17.929,242.071),(-18.661,243.839),(-17.929,245.607),(-16.161,246.339),(-14.393,245.607),(-13.661,243.839),(-14.393,242.071)],
  [(-18.75,243.325),(-20.518,244.058),(-21.25,245.825),(-20.518,247.593),(-18.75,248.325),(-16.982,247.593),(-16.25,245.825),(-16.982,244.058)],
  [(-21.765,244.574),(-23.533,245.306),(-24.265,247.074),(-23.533,248.842),(-21.765,249.574),(-19.997,248.842),(-19.265,247.074),(-19.997,245.306)])

lib.write_gds('fig1_P01.gds')
